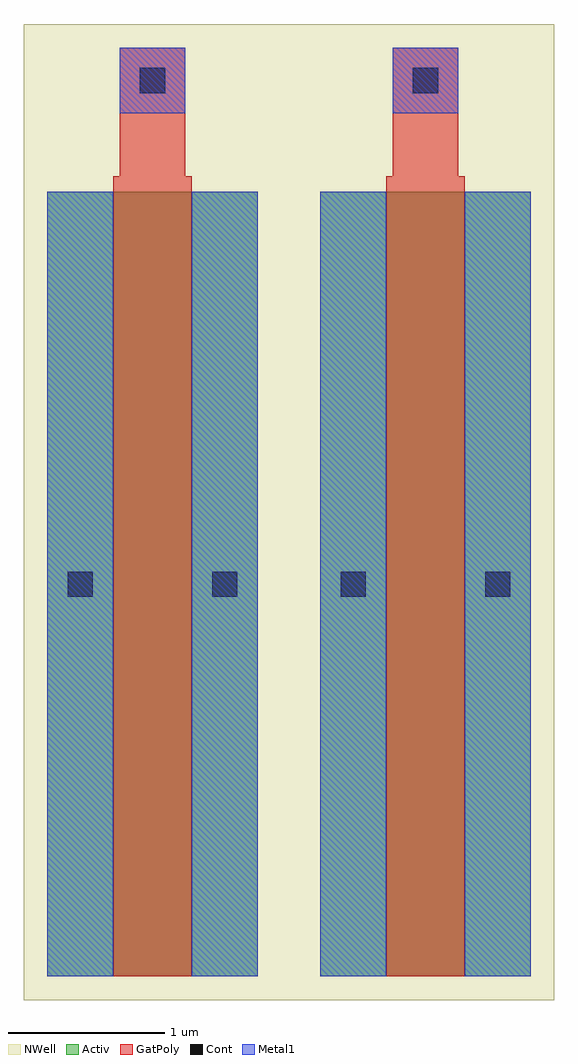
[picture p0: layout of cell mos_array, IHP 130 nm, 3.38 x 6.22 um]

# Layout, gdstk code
import gdstk
lib = gdstk.Library(unit=1e-6, precision=1e-09)
def R(c, l, rs):  # rectangles x0, y0, x1, y1
    for r in rs: c.add(gdstk.rectangle(r[:2], r[2:], *l))
Activ = (1, 0)
GatPoly = (5, 0)
Cont = (6, 0)
Metal1 = (8, 0)
NWell = (31, 0)

mos_array = lib.new_cell('mos_array')
R(mos_array, Activ, [(0,0,1.34,5), (1.74,0,3.08,5)])
R(mos_array, GatPoly, [(0.42,0,0.92,5), (2.16,0,2.66,5), (0.42,5,0.92,5.1), (2.16,5,2.66,5.1), (0.46,5.1,0.88,5.92), (2.2,5.1,2.62,5.92)])
R(mos_array, Cont, [(0.13,2.42,0.29,2.58), (1.05,2.42,1.21,2.58), (1.87,2.42,2.03,2.58), (2.79,2.42,2.95,2.58), (0.59,5.63,0.75,5.79), (2.33,5.63,2.49,5.79)])
R(mos_array, Metal1, [(0,0,0.42,5), (0.92,0,1.34,5), (1.74,0,2.16,5), (2.66,0,3.08,5), (0.46,5.5,0.88,5.92), (2.2,5.5,2.62,5.92)])
R(mos_array, NWell, [(-0.15,-0.15,3.23,6.07)])

lib.write_gds('mos_array.gds')
